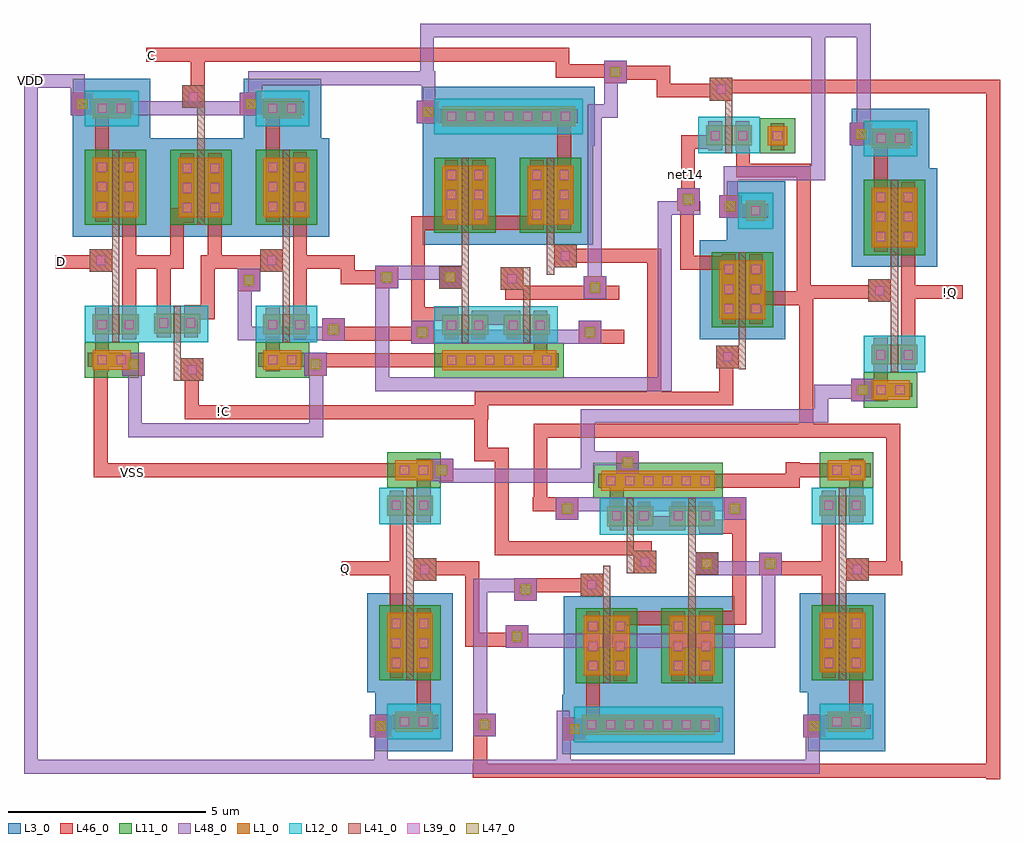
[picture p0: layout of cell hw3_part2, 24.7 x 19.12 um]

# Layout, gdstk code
from math import pi, radians
import gdstk
lib = gdstk.Library(unit=1e-6, precision=1e-09)
def R(c, l, rs):  # rectangles x0, y0, x1, y1
    for r in rs: c.add(gdstk.rectangle(r[:2], r[2:], *l))
L1_0 = (1, 0)
L3_0 = (3, 0)
L11_0 = (11, 0)
L12_0 = (12, 0)
L39_0 = (39, 0)
L41_0 = (41, 0)
L46_0 = (46, 0)
L47_0 = (47, 0)
L48_0 = (48, 0)

cont = lib.new_cell('CONT')
R(cont, L39_0, [(-0.12,-0.12,0.11,0.11)])
R(cont, L41_0, [(-0.29,-0.29,0.28,0.28)])
R(cont, L46_0, [(-0.29,-0.29,0.28,0.28)])

nmos_body = lib.new_cell('nmos_body')
R(nmos_body, L1_0, [(-0.22,-0.185,0.26,0.315)])
R(nmos_body, L11_0, [(-0.42,-0.385,0.46,0.515)])
R(nmos_body, L39_0, [(-0.095,-0.05,0.135,0.18)])
R(nmos_body, L46_0, [(-0.348,-0.11,0.332,0.24)])

pmos_body = lib.new_cell('pmos_body')
R(pmos_body, L1_0, [(-0.305,-0.355,0.175,0.145)])
R(pmos_body, L3_0, [(-0.805,-0.855,0.675,0.645)])
R(pmos_body, L12_0, [(-0.505,-0.555,0.375,0.345)])
R(pmos_body, L39_0, [(-0.18,-0.22,0.05,0.01)])
R(pmos_body, L46_0, [(-0.433,-0.28,0.247,0.07)])

via1 = lib.new_cell('VIA1')
R(via1, L46_0, [(-0.295,-0.295,0.275,0.275)])
R(via1, L47_0, [(-0.135,-0.135,0.115,0.115)])
R(via1, L48_0, [(-0.295,-0.295,0.275,0.275)])

nmos_small = lib.new_cell('nmos_small')
R(nmos_small, L1_0, [(-3.8,0.175,-2.64,0.675)])
R(nmos_small, L12_0, [(-4,-0.045,-2.44,0.875)])
R(nmos_small, L39_0, [(-3.68,0.325,-3.45,0.555), (-2.99,0.325,-2.76,0.555)])
R(nmos_small, L41_0, [(-3.31,-1.025,-3.13,0.875)])
R(nmos_small, L46_0, [(-3.74,0.073,-3.39,0.808), (-3.05,0.073,-2.7,0.808)])

pmos_small = lib.new_cell('pmos_small')
R(pmos_small, L1_0, [(-0.57,-0.225,0.59,0.275)])
R(pmos_small, L3_0, [(-1.07,-0.725,1.09,0.775)])
R(pmos_small, L11_0, [(-0.77,-0.425,0.79,0.475)])
R(pmos_small, L39_0, [(-0.45,-0.075,-0.22,0.155), (0.24,-0.075,0.47,0.155)])
R(pmos_small, L41_0, [(-0.08,-1.49,0.1,0.475)])
R(pmos_small, L46_0, [(-0.51,-0.347,-0.16,0.428), (0.18,-0.342,0.53,0.423)])

tri_state = lib.new_cell('tri_state')
tri_state.add(gdstk.FlexPath([(2.905,-2.69),(3.755,-2.69)], 0.35, ends="flush", simple_path=True, layer=46, datatype=0))  # L46_0
tri_state.add(gdstk.FlexPath([(-0.45,-2.12),(-1.465,-2.12),(-1.465,0.18),(-0.445,0.18)], 0.35, ends="flush", simple_path=True, layer=46, datatype=0))  # L46_0
tri_state.add(gdstk.FlexPath([(0.925,-1.255),(0.925,-1.58),(3.635,-1.58)], 0.35, ends="flush", simple_path=True, layer=46, datatype=0))  # L46_0
tri_state.add(gdstk.FlexPath([(2.27,-0.645),(3.655,-0.645)], 0.35, ends="flush", simple_path=True, layer=46, datatype=0))  # L46_0
tri_state.add(gdstk.FlexPath([(-0.085,0.193),(1.71,0.193)], 0.35, ends="flush", simple_path=True, layer=46, datatype=0))  # L46_0
tri_state.add(gdstk.FlexPath([(-0.085,-2.213),(1.09,-2.213)], 0.35, ends="flush", simple_path=True, layer=46, datatype=0))  # L46_0
tri_state.add(gdstk.FlexPath([(2.235,1.575),(2.235,3.09)], 0.35, ends="flush", simple_path=True, layer=46, datatype=0))  # L46_0
tri_state.add(gdstk.FlexPath([(1.635,-3.32),(1.635,-2.225)], 0.35, ends="flush", simple_path=True, layer=46, datatype=0))  # L46_0
tri_state.add(gdstk.FlexPath([(-1.355,-2.69),(2.75,-2.69)], 0.35, ends="flush", simple_path=True, layer=48, datatype=0))  # L48_0
tri_state.add(gdstk.FlexPath([(-2.02,-1.075),(-0.48,-1.075)], 0.35, ends="flush", simple_path=True, layer=48, datatype=0))  # L48_0
tri_state.add(gdstk.Reference(via1, (2.9,-2.57)))
tri_state.add(gdstk.Reference(via1, (-1.345,-2.57)))
tri_state.add(gdstk.Reference(via1, (-2.245,-1.175)))
tri_state.add(gdstk.Reference(via1, (-0.635,-1.175)))
tri_state.add(gdstk.Reference(cont, (2.27,-0.645)))
tri_state.add(gdstk.Reference(cont, (0.92,-1.22)))
tri_state.add(gdstk.Reference(cont, (-0.64,-1.19)))
r = gdstk.Reference(nmos_body, (-0.63,-3.355)); r.repetition = gdstk.Repetition(6, 1, v1=(0.48,0), v2=(0,0.5)); tri_state.add(r)
r = gdstk.Reference(pmos_body, (-0.545,2.99)); r.repetition = gdstk.Repetition(7, 1, v1=(0.48,0), v2=(0,0.5)); tri_state.add(r)
tri_state.add(gdstk.Reference(nmos_small, (-1.93,-1.965), rotation=pi))
tri_state.add(gdstk.Reference(nmos_small, (-3.49,-1.965), rotation=pi))
r = gdstk.Reference(pmos_small, (-0.28,0.36)); r.repetition = gdstk.Repetition(1, 3, v1=(0.69,0), v2=(0,0.5)); tri_state.add(r)
r = gdstk.Reference(pmos_small, (1.88,0.36)); r.repetition = gdstk.Repetition(1, 3, v1=(0.69,0), v2=(0,0.5)); tri_state.add(r)

hw3_inverter = lib.new_cell('hw3_inverter')
hw3_inverter.add(gdstk.FlexPath([(-1.245,-1.025),(-0.22,-1.025)], 0.35, ends="flush", simple_path=True, layer=46, datatype=0))  # L46_0
hw3_inverter.add(gdstk.FlexPath([(0.64,-1.025),(1.995,-1.025)], 0.35, ends="flush", simple_path=True, layer=46, datatype=0))  # L46_0
hw3_inverter.add(gdstk.FlexPath([(0.615,-2.365),(0.615,0.495)], 0.35, ends="flush", simple_path=True, layer=46, datatype=0))  # L46_0
hw3_inverter.add(gdstk.FlexPath([(-0.075,-3.79),(-0.075,-2.19)], 0.35, ends="flush", simple_path=True, layer=46, datatype=0))  # L46_0
hw3_inverter.add(gdstk.FlexPath([(-0.075,1.42),(-0.075,3.02)], 0.35, ends="flush", simple_path=True, layer=46, datatype=0))  # L46_0
hw3_inverter.add(gdstk.Reference(cont, (-0.1,-0.985)))
r = gdstk.Reference(nmos_body, (-0.09,-3.57)); r.repetition = gdstk.Repetition(2, 1, v1=(0.48,0), v2=(0,0.5)); hw3_inverter.add(r)
r = gdstk.Reference(pmos_body, (-0.005,2.965)); r.repetition = gdstk.Repetition(2, 1, v1=(0.48,0), v2=(0,0.5)); hw3_inverter.add(r)
hw3_inverter.add(gdstk.Reference(nmos_small, (-2.95,-2.18), rotation=pi))
r = gdstk.Reference(pmos_small, (0.26,0.335)); r.repetition = gdstk.Repetition(1, 3, v1=(0.69,0), v2=(0,0.5)); hw3_inverter.add(r)

hw3_part2 = lib.new_cell('hw3_part2')
hw3_part2.add(gdstk.FlexPath([(-1.11,-0.855),(0.6,-0.855)], 0.35, ends="flush", simple_path=True, layer=46, datatype=0))  # L46_0
hw3_part2.add(gdstk.FlexPath([(-4.405,0.925),(-4.405,2.11)], 0.35, ends="flush", simple_path=True, layer=46, datatype=0))  # L46_0
hw3_part2.add(gdstk.FlexPath([(10.05,-4.305),(11.145,-4.305)], 0.35, ends="flush", simple_path=True, layer=46, datatype=0))  # L46_0
hw3_part2.add(gdstk.FlexPath([(-7.285,-1.515),(-7.285,-4.305),(0.125,-4.305)], 0.35, ends="flush", simple_path=True, layer=46, datatype=0))  # L46_0
hw3_part2.add(gdstk.FlexPath([(8.615,5.405),(15.295,5.405),(15.295,-12.13)], 0.35, ends="flush", simple_path=True, layer=46, datatype=0))  # L46_0
hw3_part2.add(gdstk.FlexPath([(5.98,5.755),(6.955,5.755),(6.955,5.305),(8.195,5.305)], 0.35, ends="flush", simple_path=True, layer=46, datatype=0))  # L46_0
hw3_part2.add(gdstk.FlexPath([(-6.14,6.21),(4.4,6.21),(4.4,5.795),(5.5,5.795)], 0.35, ends="flush", simple_path=True, layer=46, datatype=0))  # L46_0
hw3_part2.add(gdstk.FlexPath([(4.325,-6.28),(2.86,-6.28),(2.86,-3.91),(2.335,-3.91),(2.335,-2.68)], 0.35, ends="flush", simple_path=True, layer=46, datatype=0))  # L46_0
hw3_part2.add(gdstk.FlexPath([(10.57,-1.15),(10.57,0.045),(10.35,0.045)], 0.35, ends="flush", simple_path=True, layer=46, datatype=0))  # L46_0
hw3_part2.add(gdstk.FlexPath([(8.965,3.82),(8.965,3.28),(10.505,3.28),(10.505,-0.065)], 0.35, ends="flush", simple_path=True, layer=46, datatype=0))  # L46_0
hw3_part2.add(gdstk.FlexPath([(7.55,2.515),(7.55,0.945),(8.77,0.945)], 0.35, ends="flush", simple_path=True, layer=46, datatype=0))  # L46_0
hw3_part2.add(gdstk.FlexPath([(7.575,2.695),(7.575,4),(8.405,4)], 0.35, ends="flush", simple_path=True, layer=46, datatype=0))  # L46_0
hw3_part2.add(gdstk.FlexPath([(3.045,-8.595),(2.115,-8.595),(2.115,-6.61)], 0.35, ends="flush", simple_path=True, layer=46, datatype=0))  # L46_0
hw3_part2.add(gdstk.FlexPath([(3.84,-5.335),(3.84,-3.31),(10.66,-3.31)], 0.35, ends="flush", simple_path=True, layer=46, datatype=0))  # L46_0
hw3_part2.add(gdstk.FlexPath([(10.57,-0.99),(10.57,-3.31),(12.765,-3.31),(12.765,-6.96)], 0.35, ends="flush", simple_path=True, layer=46, datatype=0))  # L46_0
hw3_part2.add(gdstk.FlexPath([(5.7,1.12),(6.72,1.12),(6.72,-2.43)], 0.35, ends="flush", simple_path=True, layer=46, datatype=0))  # L46_0
hw3_part2.add(gdstk.FlexPath([(2.13,-11.915),(15.455,-11.915)], 0.35, ends="flush", simple_path=True, layer=46, datatype=0))  # L46_0
hw3_part2.add(gdstk.FlexPath([(10.37,0.205),(11.355,0.205)], 0.35, ends="flush", simple_path=True, layer=46, datatype=0))  # L46_0
hw3_part2.add(gdstk.FlexPath([(-4.835,5.26),(-4.835,6.18)], 0.35, ends="flush", simple_path=True, layer=46, datatype=0))  # L46_0
hw3_part2.add(gdstk.FlexPath([(9.175,0.045),(10.615,0.045)], 0.35, ends="flush", simple_path=True, layer=46, datatype=0))  # L46_0
hw3_part2.add(gdstk.FlexPath([(2.315,-12.03),(2.315,-10.805)], 0.35, ends="flush", simple_path=True, layer=46, datatype=0))  # L46_0
hw3_part2.add(gdstk.FlexPath([(-1.755,-1.525),(1.385,-1.525)], 0.35, ends="flush", simple_path=True, layer=46, datatype=0))  # L46_0
hw3_part2.add(gdstk.FlexPath([(-5.695,-0.29),(-5.695,1.135)], 0.35, ends="flush", simple_path=True, layer=46, datatype=0))  # L46_0
hw3_part2.add(gdstk.FlexPath([(-4.53,0.965),(-3.895,0.965)], 0.35, ends="flush", simple_path=True, layer=46, datatype=0))  # L46_0
hw3_part2.add(gdstk.FlexPath([(8.145,-4.57),(10.225,-4.57),(10.225,-4.105)], 0.35, ends="flush", simple_path=True, layer=46, datatype=0))  # L46_0
hw3_part2.add(gdstk.FlexPath([(-5.18,-0.305),(-4.58,-0.305),(-4.58,1.14)], 0.35, ends="flush", simple_path=True, layer=46, datatype=0))  # L46_0
hw3_part2.add(gdstk.FlexPath([(-3.72,-2.84),(-4.985,-2.84),(-4.985,-1.835)], 0.35, ends="flush", simple_path=True, layer=46, datatype=0))  # L46_0
hw3_part2.add(gdstk.FlexPath([(-5.36,0.96),(-5.36,2.165),(-5.155,2.165)], 0.35, ends="flush", simple_path=True, layer=46, datatype=0))  # L46_0
hw3_part2.add(gdstk.FlexPath([(-3.995,-2.84),(2.35,-2.84),(2.35,-2.49),(8.545,-2.49),(8.545,-1.67)], 0.35, ends="flush", simple_path=True, layer=46, datatype=0))  # L46_0
hw3_part2.add(gdstk.FlexPath([(-1.04,1.12),(-1.04,0.58),(-0.175,0.58)], 0.35, ends="flush", simple_path=True, layer=46, datatype=0))  # L46_0
hw3_part2.add(gdstk.FlexPath([(-0.16,-2.195),(-0.16,0.75)], 0.35, ends="flush", simple_path=True, layer=48, datatype=0))  # L48_0
hw3_part2.add(gdstk.FlexPath([(4.43,-11.275),(4.43,-10.6)], 0.35, ends="flush", simple_path=True, layer=48, datatype=0))  # L48_0
hw3_part2.add(gdstk.FlexPath([(-1.41,-0.845),(-3.645,-0.845),(-3.645,0.245)], 0.35, ends="flush", simple_path=True, layer=48, datatype=0))  # L48_0
hw3_part2.add(gdstk.FlexPath([(5.77,-4),(5.035,-4),(5.035,-4.63)], 0.35, ends="flush", simple_path=True, layer=48, datatype=0))  # L48_0
hw3_part2.add(gdstk.FlexPath([(11.66,-2.32),(11.89,-2.32),(11.89,-2.13)], 0.35, ends="flush", simple_path=True, layer=48, datatype=0))  # L48_0
hw3_part2.add(gdstk.FlexPath([(4.43,-11.03),(4.43,-10.575),(4.58,-10.575)], 0.35, ends="flush", simple_path=True, layer=48, datatype=0))  # L48_0
hw3_part2.add(gdstk.FlexPath([(4.285,-10.775),(4.58,-10.775)], 0.35, ends="flush", simple_path=True, layer=48, datatype=0))  # L48_0
hw3_part2.add(gdstk.FlexPath([(-3.375,5.195),(-3.375,5.62)], 0.35, ends="flush", simple_path=True, layer=48, datatype=0))  # L48_0
hw3_part2.add(gdstk.FlexPath([(-7.63,4.85),(-3.685,4.85)], 0.35, ends="flush", simple_path=True, layer=48, datatype=0))  # L48_0
hw3_part2.add(gdstk.FlexPath([(-7.87,5.125),(-7.87,5.72)], 0.35, ends="flush", simple_path=True, layer=48, datatype=0))  # L48_0
hw3_part2.add(gdstk.FlexPath([(11.18,-2.32),(11.715,-2.32)], 0.35, ends="flush", simple_path=True, layer=48, datatype=0))  # L48_0
hw3_part2.add(gdstk.FlexPath([(4.26,-4.445),(5.075,-4.445)], 0.35, ends="flush", simple_path=True, layer=48, datatype=0))  # L48_0
hw3_part2.add(gdstk.FlexPath([(1.575,-4.445),(4.625,-4.445)], 0.35, ends="flush", simple_path=True, layer=48, datatype=0))  # L48_0
hw3_part2.add(gdstk.FlexPath([(5.035,-4.375),(5.035,-2.935),(10.95,-2.935),(10.95,-2.32),(11.38,-2.32)], 0.35, ends="flush", simple_path=True, layer=48, datatype=0))  # L48_0
hw3_part2.add(gdstk.FlexPath([(-6.42,-1.8),(-6.42,-3.295),(-1.835,-3.295),(-1.835,-1.87)], 0.35, ends="flush", simple_path=True, layer=48, datatype=0))  # L48_0
hw3_part2.add(gdstk.FlexPath([(-7.74,5.545),(-9.055,5.545),(-9.055,-11.815),(-0.175,-11.815)], 0.35, ends="flush", simple_path=True, layer=48, datatype=0))  # L48_0
hw3_part2.add(gdstk.FlexPath([(4.37,-11.815),(10.73,-11.815),(10.73,-10.89)], 0.35, ends="flush", simple_path=True, layer=48, datatype=0))  # L48_0
hw3_part2.add(gdstk.FlexPath([(-0.195,-11.02),(-0.195,-11.815),(4.43,-11.815),(4.43,-10.95),(4.52,-10.95)], 0.35, ends="flush", simple_path=True, layer=48, datatype=0))  # L48_0
hw3_part2.add(gdstk.FlexPath([(8.655,2.485),(8.655,3.205),(10.87,3.205),(10.87,6.775)], 0.35, ends="flush", simple_path=True, layer=48, datatype=0))  # L48_0
hw3_part2.add(gdstk.FlexPath([(9.61,-6.775),(9.61,-8.625),(3.42,-8.625)], 0.35, ends="flush", simple_path=True, layer=48, datatype=0))  # L48_0
hw3_part2.add(gdstk.FlexPath([(3.375,-7.225),(2.315,-7.225),(2.315,-10.68)], 0.35, ends="flush", simple_path=True, layer=48, datatype=0))  # L48_0
hw3_part2.add(gdstk.FlexPath([(5.215,0.28),(5.215,4.785),(5.625,4.785),(5.625,5.725)], 0.35, ends="flush", simple_path=True, layer=48, datatype=0))  # L48_0
hw3_part2.add(gdstk.FlexPath([(-0.335,-2.13),(6.985,-2.13),(6.985,2.33),(7.88,2.33)], 0.35, ends="flush", simple_path=True, layer=48, datatype=0))  # L48_0
hw3_part2.add(gdstk.FlexPath([(-3.55,5.615),(1.005,5.615),(1.005,4.86)], 0.35, ends="flush", simple_path=True, layer=48, datatype=0))  # L48_0
hw3_part2.add(gdstk.FlexPath([(1.86,-4.445),(1.455,-4.445),(1.455,-4.205)], 0.35, ends="flush", simple_path=True, layer=48, datatype=0))  # L48_0
hw3_part2.add(gdstk.FlexPath([(0.97,5.635),(0.97,6.82),(12.025,6.82),(12.025,4.39)], 0.35, ends="flush", simple_path=True, layer=48, datatype=0))  # L48_0
hw3_part2.add(gdstk.Reference(cont, (8.58,-1.435)))
hw3_part2.add(gdstk.Reference(cont, (8.42,5.34)))
hw3_part2.add(gdstk.Reference(cont, (-4.97,-1.755)))
hw3_part2.add(gdstk.Reference(cont, (-4.94,5.155)))
hw3_part2.add(gdstk.Reference(nmos_body, (9.905,4.14), rotation=pi/2))
hw3_part2.add(gdstk.Reference(pmos_body, (9.355,2.365)))
hw3_part2.add(gdstk.Reference(via1, (8.66,2.38)))
hw3_part2.add(gdstk.Reference(via1, (-3.525,0.515)))
hw3_part2.add(gdstk.Reference(via1, (-1.385,-0.735)))
hw3_part2.add(gdstk.Reference(via1, (12.005,-2.265)))
hw3_part2.add(gdstk.Reference(via1, (6.058,-4.1)))
hw3_part2.add(gdstk.Reference(via1, (1.355,-4.295)))
hw3_part2.add(gdstk.Reference(via1, (-1.843,-1.615)))
hw3_part2.add(gdstk.Reference(via1, (-6.448,-1.615)))
hw3_part2.add(gdstk.Reference(via1, (10.783,-10.77)))
hw3_part2.add(gdstk.Reference(via1, (4.72,-10.845)))
hw3_part2.add(gdstk.Reference(via1, (-0.187,-10.77)))
hw3_part2.add(gdstk.Reference(via1, (11.965,4.21)))
hw3_part2.add(gdstk.Reference(via1, (1.01,4.77)))
hw3_part2.add(gdstk.Reference(via1, (-3.475,4.97)))
hw3_part2.add(gdstk.Reference(via1, (5.745,5.78)))
hw3_part2.add(gdstk.Reference(via1, (2.435,-10.74)))
hw3_part2.add(gdstk.Reference(via1, (7.595,2.56)))
hw3_part2.add(gdstk.Reference(via1, (3.475,-7.315)))
hw3_part2.add(gdstk.Reference(via1, (3.255,-8.505)))
hw3_part2.add(gdstk.Reference(via1, (5.23,0.325)))
hw3_part2.add(gdstk.Reference(via1, (-7.75,4.97)))
hw3_part2.add(gdstk.Reference(tri_state, (7.405,-7.86), rotation=pi))
hw3_part2.add(gdstk.Reference(tri_state, (2.205,1.765)))
hw3_part2.add(gdstk.Reference(nmos_small, (5.39,4.595), rotation=pi))
hw3_part2.add(gdstk.Reference(nmos_small, (-2.13,-1.02)))
r = gdstk.Reference(pmos_small, (-4.74,3.375), rotation=pi); r.repetition = gdstk.Repetition(1, 3, v1=(-0.69,0), v2=(0,-0.5)); hw3_part2.add(r)
r = gdstk.Reference(pmos_small, (8.94,-0.265)); r.repetition = gdstk.Repetition(1, 3, v1=(0.69,0), v2=(0,0.5)); hw3_part2.add(r)
hw3_part2.add(gdstk.Reference(hw3_inverter, (0.81,-7.81), rotation=pi))
hw3_part2.add(gdstk.Reference(hw3_inverter, (11.755,-7.81), rotation=pi))
hw3_part2.add(gdstk.Reference(hw3_inverter, (12.53,1.23)))
hw3_part2.add(gdstk.Reference(hw3_inverter, (-2.86,1.99)))
hw3_part2.add(gdstk.Reference(hw3_inverter, (-7.18,1.99)))
hw3_part2.add(gdstk.Label('net14', (7.505,3.165), layer=101, texttype=0))
hw3_part2.add(gdstk.Label('VSS', (-6.495,-4.37), layer=101, texttype=0))
hw3_part2.add(gdstk.Label('Q', (-1.09,-6.805), layer=101, texttype=0))
hw3_part2.add(gdstk.Label('!Q', (14.18,0.195), layer=101, texttype=0))
hw3_part2.add(gdstk.Label('D', (-8.28,0.98), layer=101, texttype=0))
hw3_part2.add(gdstk.Label('!C', (-4.18,-2.825), layer=101, texttype=0))
hw3_part2.add(gdstk.Label('C', (-6.01,6.19), layer=101, texttype=0))
hw3_part2.add(gdstk.Label('VDD', (-9.055,5.55), layer=102, texttype=0))

lib.write_gds('hw3_part2.gds')
